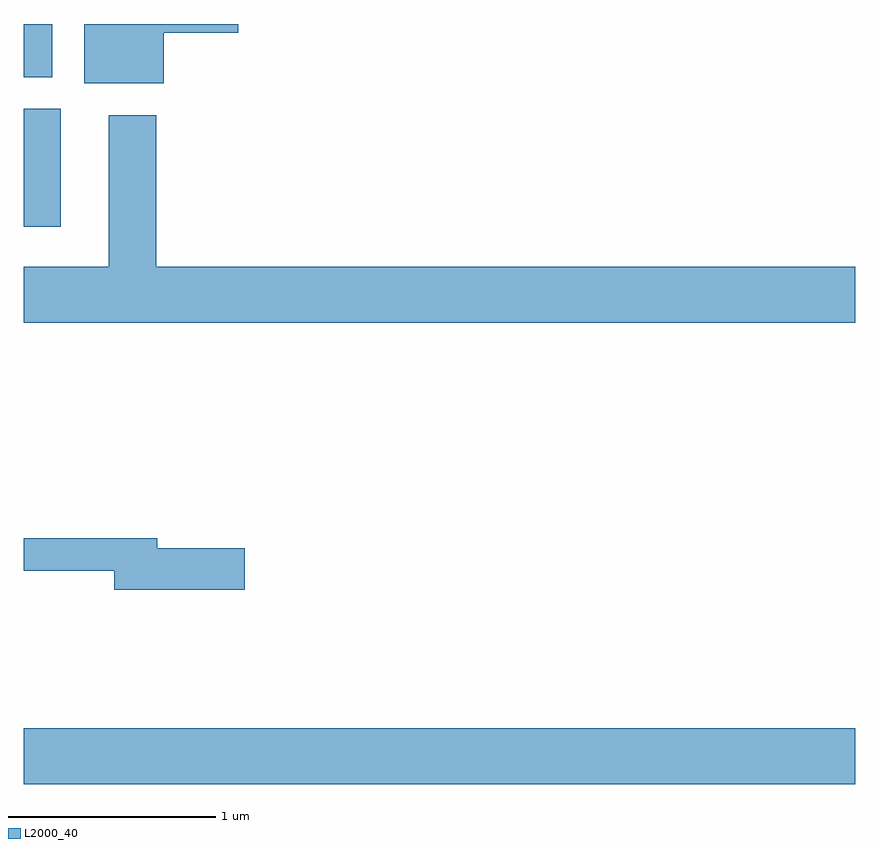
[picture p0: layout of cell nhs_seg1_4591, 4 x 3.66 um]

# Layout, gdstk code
import gdstk
lib = gdstk.Library(unit=1e-6, precision=1e-09)
def R(c, l, rs):  # rectangles x0, y0, x1, y1
    for r in rs: c.add(gdstk.rectangle(r[:2], r[2:], *l))
def P(c, l, *ps):  # polygons
    for p in ps: c.add(gdstk.Polygon(p, *l))
L2000_40 = (2000, 40)

nhs_seg1_4591 = lib.new_cell('nhs_seg1_4591')
R(nhs_seg1_4591, L2000_40, [(323.611,864.056,327.611,864.324), (323.611,866.736,323.789,867.304), (323.611,867.456,323.749,867.712)])
P(nhs_seg1_4591, L2000_40, [(324.284,867.671),(324.644,867.671),(324.644,867.712),(323.901,867.712),(323.901,867.426),(324.284,867.426)],
  [(327.611,866.544),(324.249,866.544),(324.249,867.274),(324.021,867.274),(324.021,866.544),(323.611,866.544),(323.611,866.276),(327.611,866.276)],
  [(324.674,865.189),(324.254,865.189),(324.254,865.239),(323.611,865.239),(323.611,865.081),(324.046,865.081),(324.046,864.991),(324.674,864.991)])

lib.write_gds('nhs_seg1_4591.gds')
